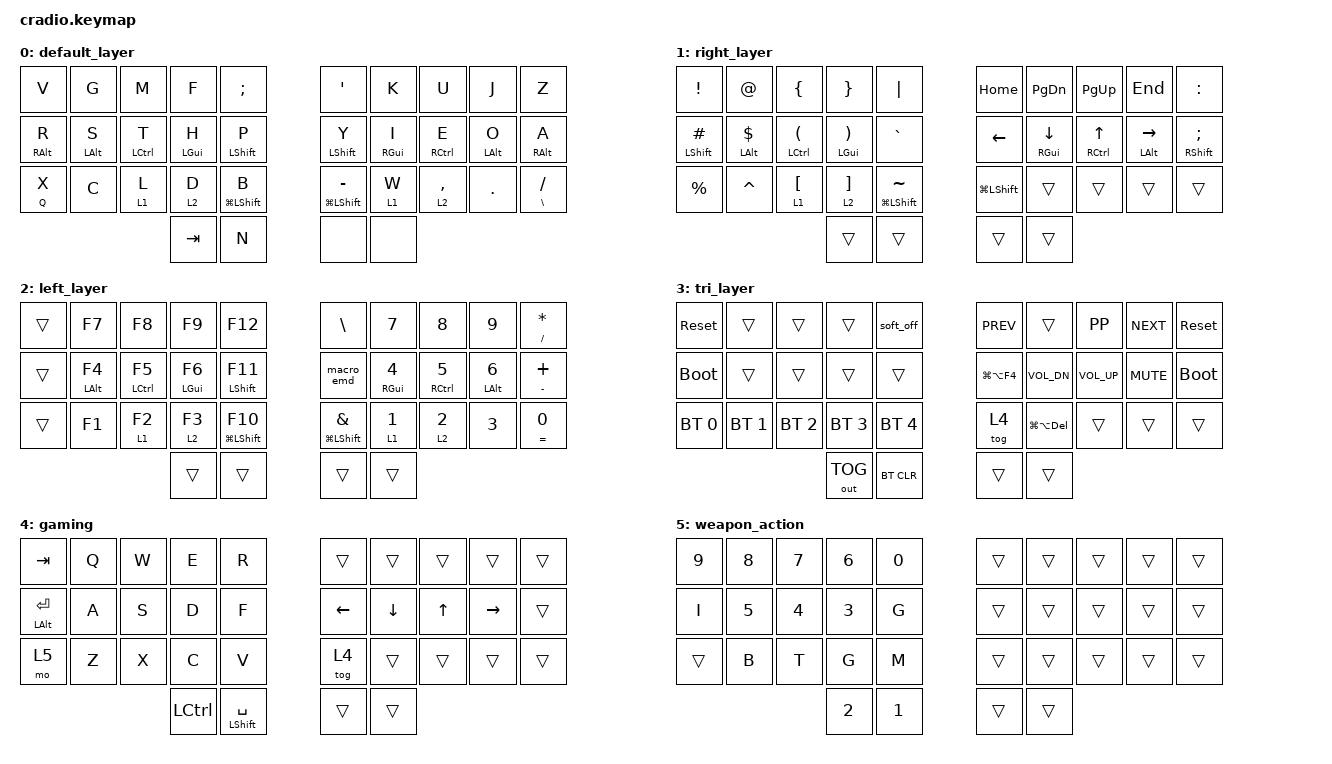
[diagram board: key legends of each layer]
// -*- mode: dts -*-
// Copyright (c) 2022 The ZMK Contributors
// SPDX-License-Identifier: MIT

#include <behaviors.dtsi>
#include <dt-bindings/zmk/keys.h>
#include <dt-bindings/zmk/bt.h>
#include <dt-bindings/zmk/outputs.h>

// Home row mods macro
/* #define HRML(k1,k2,k3,k4) &ht LSHFT k1  &ht LALT k2  &ht LCTRL k3  &ht LGUI k4 */
/* #define HRMR(k1,k2,k3,k4) &ht RGUI k1  &ht RCTRL k2  &ht LALT k3  &ht LSHFT k4 */

/ {
    behaviors {
        ht: hold_tap {
            label = "hold_tap";
            compatible = "zmk,behavior-hold-tap";
            #binding-cells = <2>;
            flavor = "tap-preferred";
            tapping-term-ms = <180>;
            quick-tap-ms = <100>;
            global-quick-tap;
            bindings = <&kp>, <&kp>;
        };
    };

    conditional_layers {
        compatible = "zmk,conditional-layers";
        tri_layer {
            if-layers = <1 2>;
            then-layer = <3>;
        };
    };

    combos {
        compatible = "zmk,combos";
        combo_caps_word {
            timeout-ms = <100>;
            key-positions = <14 15>;
            bindings = <&caps_word>;
        };
        combo_spc_l {
            timeout-ms = <50>;
            key-positions = <12 13>;
            bindings = <&kp SPACE>;
        };
        combo_spc_r {
            timeout-ms = <50>;
            key-positions = <16 17>;
            bindings = <&kp SPACE>;
        };
        combo_enter {
            timeout-ms = <100>;
            key-positions = <16 17 18>;
            bindings = <&kp ENTER>;
        };
        combo_esc {
            timeout-ms = <100>;
            key-positions = <30 31>;
            bindings = <&kp ESC>;
        };
        combo_bspc {
            timeout-ms = <100>;
            key-positions = <26 27>;
            bindings = <&kp BSPC>;
            layers = <0>;
        };
        combo_bspc_word {
            timeout-ms = <100>;
            key-positions = <25 26>;
            bindings = <&kp LC(BSPC)>;
            layers = <0>;
        };
        combo_del {
            timeout-ms = <100>;
            key-positions = <27 28>;
            bindings = <&kp DEL>;
            layers = <0>;
        };
        combo_del_word {
            timeout-ms = <100>;
            key-positions = <28 29>;
            bindings = <&kp LC(DEL)>;
            layers = <0>;
        };
        combo_del_all {
            timeout-ms = <100>;
            key-positions = <26 27 28>;
            bindings = <&macro_del_all>;
            layers = <0>;
        };
        combo_qu {
            timeout-ms = <100>;
            key-positions = <20 21>;
            bindings = <&macro_qu>;
            layers = <0>;
        };
    };

    macros {
        macro_qu: macro_qu {
            label = "ZM_QU";
            compatible = "zmk,behavior-macro";
            #binding-cells = <0>;
            bindings
                = <&macro_tap &kp Q &kp U>
                ;
        };
        macro_del_all: macro_del_all {
            label = "ZM_DEL_ALL";
            compatible = "zmk,behavior-macro";
            #binding-cells = <0>;
            bindings
                = <&macro_tap &kp LC(A)>
                , <&macro_tap &kp DEL>
                ;
        };
        macro_emd: macro_emd {
            label = "ZM_EMD";
            compatible = "zmk,behavior-macro";
            #binding-cells = <0>;
            bindings
                = <&macro_tap &kp RALT>
                , <&macro_tap &kp MINUS>
                , <&macro_tap &kp MINUS>
                , <&macro_tap &kp MINUS>
                ;
        };
    };

    keymap {
        compatible = "zmk,keymap";
        default_layer {  // Base layer
            bindings = <
        //|  V       |  G        |  M         |  F        | ;:             |   | '"                 |  K        |  U         |  J         |  Z           |
            &kp V      &kp G      &kp M        &kp F       &kp SEMI             &kp SQT   &kp K        &kp U        &kp J        &kp Z
        //|  R       |  S        |  T         |  H        | P              |   |  Y                 |  I        |  E         |  O         |  A           |
          &ht RALT R  &ht LALT S  &ht LCTRL T  &ht LGUI H  &ht LSHFT P          &ht LSHFT Y          &ht RGUI I  &ht RCTRL E  &ht LALT O   &ht RALT A
        //|  X       |  C        |  L         |  D        | B              |   | - _                |  W        | , <        | . >        | / ?          |
            &ht Q X    &kp C      &lt 1 L      &lt 2 D     &ht LG(LSHFT) B      &ht LG(LSHFT) MINUS  &lt 1 W     &lt 2 COMMA  &kp DOT      &ht BSLH FSLH
        //                                    |           |                |   |                    |           |
                                               &kp TAB     &kp N                &none                &none
            >;
        };

        right_layer {  // Symbolic/navigation layer
            bindings = <
        //| !             |  @           |  {            |  }           | PIPE              |   | HOME               | PAGE DN      | PAGE UP     | END           |  :           |
           &kp EXCL        &kp AT         &kp LBRC        &kp RBRC       &kp PIPE                &kp HOME   &kp PG_DN      &kp PG_UP     &kp END         &kp COLON
        //| #             |  $           |  (            |  )           | `                 |   | LEFT               | DOWN         | UP          | RIGHT         |  ;           |
           &ht LSHFT HASH  &ht LALT DLLR  &ht LCTRL LPAR  &ht LGUI RPAR  &kp GRAVE               &kp LEFT             &ht RGUI DOWN  &ht RCTRL UP  &ht LALT RIGHT  &ht RSHFT SEMI
        //| %             |  ^           |  [            |  ]           |  ~                |   |                    |              |             |               |              |
           &kp PRCNT       &kp CARET      &lt 1 LBKT      &lt 2 RBKT     &ht LG(LSHFT) TILDE     &kp LG(LSHFT)        &trans         &trans        &trans          &trans
        //                                               |              |                   |   |                    |              |
                                                          &trans         &trans                  &trans               &trans
            >;
        };

        left_layer {  // Numerics and function keys layer
            bindings = <
        //|        |  F7        |  F8         |  F9        |  F12             |   |  \                |  7         |  8          |  9         | * /           |
            &trans  &kp F7       &kp F8        &kp F9       &kp F12                &kp BSLH            &kp N7       &kp N8        &kp N9       &ht FSLH ASTRK
        //|  !     |  F4        |  F5         |  F6        |  F11             |   | EMD               |  4         |  5          |  6         | + -           |
            &trans  &ht LALT F4  &ht LCTRL F5  &ht LGUI F6  &ht LSHFT F11          &macro_emd          &ht RGUI N4  &ht RCTRL N5  &ht LALT N6  &ht MINUS PLUS
        //|        |  F1        |  F2         |  F3        |  F10             |   |  &                |  1         |  2          |  3         | 0 =           |
            &trans  &kp F1       &lt 1 F2      &lt 2 F3     &ht LG(LSHFT) F10      &ht LG(LSHFT) AMPS  &lt 1 N1     &lt 2 N2      &kp N3       &ht EQUAL N0
        //                                    |            |                  |   |                   |            |
                                               &trans       &trans                 &trans              &trans
            >;
        };

        tri_layer {  // Control layer
            bindings = <
        //|  RESET      |             |             |             | Soft off    |   | MEDIA        |TODO:PLAYR      | MEDIA      | MEDIA     | RESET      |
           &sys_reset    &trans        &trans        &trans        &soft_off            &kp K_PREV      &trans           &kp K_PP       &kp K_NEXT  &sys_reset
        //| BOOTLOADER  |             |             |             |             |   |  MIXER        | VOL DOWN       | VOL UP      | MUTE       | BOOTLOADER |
           &bootloader   &trans        &trans        &trans        &trans            &kp LG(LA(F4))  &kp K_VOL_DN     &kp K_VOL_UP  &kp K_MUTE   &bootloader
        //| PROFILE 0   | PROFILE 1   | PROFILE 2   | PROFILE 3   | PROFILE 4   |   |GAMING LYR     |PROC MNGR       |             |            |            |
           &bt BT_SEL 0  &bt BT_SEL 1  &bt BT_SEL 2  &bt BT_SEL 3  &bt BT_SEL 4      &tog 4          &kp LG(LA(DEL))  &trans        &trans       &trans
        //                                          |             |             |   |               |                |
                                                     &out OUT_TOG  &bt BT_CLR        &trans          &trans
        //                                          |             |             |   |               |                |
            >;
        };

        gaming {  // Single handed gaming layer
            bindings = <
        //|          |          |          |          |                 |   |          |          |          |          |          |
            &kp TAB    &kp Q      &kp W      &kp E      &kp R                &trans     &trans     &trans     &trans     &trans
        //|          |          |          |          |                 |   |          |          |          |          |          |
        &ht LALT ENTER  &kp A     &kp S      &kp D      &kp F                &kp LEFT   &kp DOWN   &kp UP     &kp RIGHT  &trans
        //|          |          |          |          |                 |   |          |          |          |          |          |
            &mo 5      &kp Z      &kp X      &kp C      &kp V                &tog 4     &trans     &trans     &trans     &trans
        //                                 |          |                 |   |          |          |                                 
                                             &kp LCTRL  &ht LSHFT SPACE      &trans     &trans
        //                                 |          |                 |   |          |          |
            >;
        };

        weapon_action {  // In-game weapons/actions layer
            bindings = <
        //|          |          |          |          |          |   |          |          |          |          |          |
            &kp N9     &kp N8     &kp N7     &kp N6     &kp N0         &trans     &trans     &trans     &trans     &trans
        //|          |          |          |          |          |   |          |          |          |          |          |
            &kp I      &kp N5     &kp N4     &kp N3     &kp G          &trans     &trans     &trans     &trans     &trans
        //|          |          |          |          |          |   |          |          |          |          |          |
            &trans     &kp B      &kp T      &kp G      &kp M          &trans     &trans     &trans     &trans     &trans
        //                                 |          |          |   |          |          |                                 
                                             &kp N2     &kp N1         &trans     &trans
        //                                 |          |          |   |          |          |
            >;
        };
    };
};
